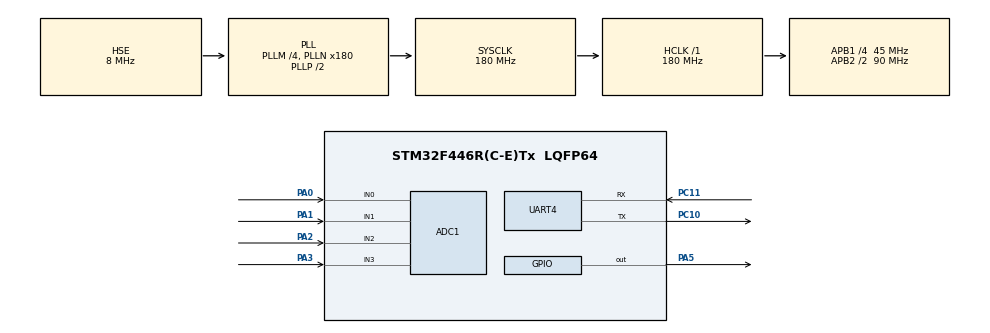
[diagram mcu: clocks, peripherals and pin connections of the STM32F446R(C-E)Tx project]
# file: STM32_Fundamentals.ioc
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ADC1.Channel-1\#ChannelRegularConversion=ADC_CHANNEL_0
ADC1.Channel-2\#ChannelRegularConversion=ADC_CHANNEL_1
ADC1.Channel-3\#ChannelRegularConversion=ADC_CHANNEL_2
ADC1.Channel-4\#ChannelRegularConversion=ADC_CHANNEL_3
ADC1.ClockPrescaler=ADC_CLOCK_SYNC_PCLK_DIV6
ADC1.ContinuousConvMode=DISABLE
ADC1.DMAContinuousRequests=DISABLE
ADC1.DiscontinuousConvMode=DISABLE
ADC1.EOCSelection=ADC_EOC_SEQ_CONV
ADC1.NbrOfConversion=4
ADC1.NbrOfConversionFlag=1
ADC1.Rank-1\#ChannelRegularConversion=1
ADC1.Rank-2\#ChannelRegularConversion=2
ADC1.Rank-3\#ChannelRegularConversion=3
ADC1.Rank-4\#ChannelRegularConversion=4
ADC1.SamplingTime-1\#ChannelRegularConversion=ADC_SAMPLETIME_3CYCLES
ADC1.SamplingTime-2\#ChannelRegularConversion=ADC_SAMPLETIME_3CYCLES
ADC1.SamplingTime-3\#ChannelRegularConversion=ADC_SAMPLETIME_3CYCLES
ADC1.SamplingTime-4\#ChannelRegularConversion=ADC_SAMPLETIME_3CYCLES
ADC1.ScanConvMode=ENABLE
ADC1.master=1
Dma.ADC1.0.Direction=DMA_PERIPH_TO_MEMORY
Dma.ADC1.0.FIFOMode=DMA_FIFOMODE_DISABLE
Dma.ADC1.0.Instance=DMA2_Stream0
Dma.ADC1.0.MemDataAlignment=DMA_MDATAALIGN_HALFWORD
Dma.ADC1.0.MemInc=DMA_MINC_ENABLE
Dma.ADC1.0.Mode=DMA_NORMAL
Dma.ADC1.0.PeriphDataAlignment=DMA_PDATAALIGN_HALFWORD
Dma.ADC1.0.PeriphInc=DMA_PINC_DISABLE
Dma.ADC1.0.Priority=DMA_PRIORITY_LOW
Dma.Request0=ADC1
Mcu.Family=STM32F4
Mcu.Name=STM32F446R(C-E)Tx
Mcu.Package=LQFP64
NVIC.ADC_IRQn=true\:0\:0\:false\:false\:true\:true\:true\:true
NVIC.DMA2_Stream0_IRQn=true\:0\:0\:false\:false\:true\:false\:true\:true
NVIC.PriorityGroup=NVIC_PRIORITYGROUP_4
NVIC.UART4_IRQn=true\:0\:0\:false\:false\:true\:true\:true\:true
PA0-WKUP.Signal=ADCx_IN0
PA1.Signal=ADCx_IN1
PA13.Mode=Serial_Wire
PA13.Signal=SYS_JTMS-SWDIO
PA14.Mode=Serial_Wire
PA14.Signal=SYS_JTCK-SWCLK
PA2.Signal=ADCx_IN2
PA3.Signal=ADCx_IN3
PA5.Signal=GPIO_Output
PC10.Mode=Asynchronous
PC10.Signal=UART4_TX
PC11.Mode=Asynchronous
PC11.Signal=UART4_RX
PH0-OSC_IN.Mode=HSE-External-Clock-Source
PH0-OSC_IN.Signal=RCC_OSC_IN
PH1-OSC_OUT.Mode=HSE-External-Clock-Source
PH1-OSC_OUT.Signal=RCC_OSC_OUT
ProjectManager.HeapSize=0x200
ProjectManager.StackSize=0x400
ProjectManager.TargetToolchain=STM32CubeIDE
RCC.AHBFreq_Value=180000000
RCC.APB1CLKDivider=RCC_HCLK_DIV4
RCC.APB1Freq_Value=45000000
RCC.APB1TimFreq_Value=90000000
RCC.APB2CLKDivider=RCC_HCLK_DIV2
RCC.APB2Freq_Value=90000000
RCC.APB2TimFreq_Value=180000000
RCC.CortexFreq_Value=180000000
RCC.HCLKFreq_Value=180000000
RCC.HSE_VALUE=8000000
RCC.PLLM=4
RCC.PLLN=180
RCC.PLLSourceVirtual=RCC_PLLSOURCE_HSE
RCC.SYSCLKFreq_VALUE=180000000
RCC.SYSCLKSource=RCC_SYSCLKSOURCE_PLLCLK
RCC.USBFreq_Value=180000000
RCC.VCOOutputFreq_Value=360000000
SH.ADCx_IN0.0=ADC1_IN0,IN0
SH.ADCx_IN1.0=ADC1_IN1,IN1
SH.ADCx_IN2.0=ADC1_IN2,IN2
SH.ADCx_IN3.0=ADC1_IN3,IN3
UART4.VirtualMode=Asynchronous
board=custom

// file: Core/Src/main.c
/* USER CODE BEGIN Header */
/**
  ******************************************************************************
  * @file           : main.c
  * @brief          : Main program body
  ******************************************************************************
  * @attention
  *
  * Copyright (c) 2026 STMicroelectronics.
  * All rights reserved.
  *
  * This software is licensed under terms that can be found in the LICENSE file
  * in the root directory of this software component.
  * If no LICENSE file comes with this software, it is provided AS-IS.
  *
  ******************************************************************************
  */
/* USER CODE END Header */
#include "main.h"

/* USER CODE BEGIN Includes */
#include <stdio.h>
#include <string.h>
/* USER CODE END Includes */

ADC_HandleTypeDef hadc1;
DMA_HandleTypeDef hdma_adc1;

UART_HandleTypeDef huart4;

/* USER CODE BEGIN PV */
// volatile uint8_t usart2DataReady = 0;
// volatile uint8_t uart4DataReady = 0;
// volatile uint16_t usart2size;
// volatile uint16_t uart4size;

// uint8_t usart2RxData[64];
// uint8_t uart4RxData[64];

volatile uint16_t ADC_VAL[4];
volatile int isADCFinished = 0;
uint32_t countloop = 0;

/* USER CODE END PV */

void SystemClock_Config(void);
static void MX_GPIO_Init(void);
static void MX_DMA_Init(void);
static void MX_UART4_Init(void);
static void MX_ADC1_Init(void);
/* USER CODE BEGIN PFP */
void HAL_ADC_ConvCpltCallback(ADC_HandleTypeDef *hadc);
/* USER CODE END PFP */

int main(void)
{

  /* MCU Configuration--------------------------------------------------------*/

  /* Reset of all peripherals, Initializes the Flash interface and the Systick. */
  HAL_Init();

  /* Configure the system clock */
  SystemClock_Config();

  /* Initialize all configured peripherals */
  MX_GPIO_Init();
  MX_DMA_Init();
  MX_UART4_Init();
  MX_ADC1_Init();
  /* USER CODE BEGIN 2 */
//  HAL_UARTEx_ReceiveToIdle_IT(&huart2, usart2RxData, 64);
//  HAL_UARTEx_ReceiveToIdle_IT(&huart4, uart4RxData, 64);
  HAL_ADC_Start_DMA(&hadc1, (uint32_t*)ADC_VAL, 4);
  /* USER CODE END 2 */

  /* Infinite loop */
  while(1)
  {

    /* USER CODE BEGIN 3 */
	 if (isADCFinished == 1)
	 {
		 isADCFinished = 0;
		 HAL_ADC_Start_DMA(&hadc1, (uint32_t*)ADC_VAL, 4);
	 }
	  HAL_Delay(500);
	  countloop++;
  }
  /* USER CODE END 3 */
}

void SystemClock_Config(void)
{
  RCC_OscInitTypeDef RCC_OscInitStruct = {0};
  RCC_ClkInitTypeDef RCC_ClkInitStruct = {0};

  /** Configure the main internal regulator output voltage
  */
  __HAL_RCC_PWR_CLK_ENABLE();
  __HAL_PWR_VOLTAGESCALING_CONFIG(PWR_REGULATOR_VOLTAGE_SCALE1);

  /** Initializes the RCC Oscillators according to the specified parameters
  * in the RCC_OscInitTypeDef structure.
  */
  RCC_OscInitStruct.OscillatorType = RCC_OSCILLATORTYPE_HSE;
  RCC_OscInitStruct.HSEState = RCC_HSE_BYPASS;
  RCC_OscInitStruct.PLL.PLLState = RCC_PLL_ON;
  RCC_OscInitStruct.PLL.PLLSource = RCC_PLLSOURCE_HSE;
  RCC_OscInitStruct.PLL.PLLM = 4;
  RCC_OscInitStruct.PLL.PLLN = 180;
  RCC_OscInitStruct.PLL.PLLP = RCC_PLLP_DIV2;
  RCC_OscInitStruct.PLL.PLLQ = 2;
  RCC_OscInitStruct.PLL.PLLR = 2;
  if (HAL_RCC_OscConfig(&RCC_OscInitStruct) != HAL_OK)
  {
    Error_Handler();
  }

  /** Activate the Over-Drive mode
  */
  if (HAL_PWREx_EnableOverDrive() != HAL_OK)
  {
    Error_Handler();
  }

  /** Initializes the CPU, AHB and APB buses clocks
  */
  RCC_ClkInitStruct.ClockType = RCC_CLOCKTYPE_HCLK|RCC_CLOCKTYPE_SYSCLK
                              |RCC_CLOCKTYPE_PCLK1|RCC_CLOCKTYPE_PCLK2;
  RCC_ClkInitStruct.SYSCLKSource = RCC_SYSCLKSOURCE_PLLCLK;
  RCC_ClkInitStruct.AHBCLKDivider = RCC_SYSCLK_DIV1;
  RCC_ClkInitStruct.APB1CLKDivider = RCC_HCLK_DIV4;
  RCC_ClkInitStruct.APB2CLKDivider = RCC_HCLK_DIV2;

  if (HAL_RCC_ClockConfig(&RCC_ClkInitStruct, FLASH_LATENCY_5) != HAL_OK)
  {
    Error_Handler();
  }
}

static void MX_ADC1_Init(void)
{

  ADC_ChannelConfTypeDef sConfig = {0};

  /** Configure the global features of the ADC (Clock, Resolution, Data Alignment and number of conversion)
  */
  hadc1.Instance = ADC1;
  hadc1.Init.ClockPrescaler = ADC_CLOCK_SYNC_PCLK_DIV6;
  hadc1.Init.Resolution = ADC_RESOLUTION_12B;
  hadc1.Init.ScanConvMode = ENABLE;
  hadc1.Init.ContinuousConvMode = DISABLE;
  hadc1.Init.DiscontinuousConvMode = DISABLE;
  hadc1.Init.ExternalTrigConvEdge = ADC_EXTERNALTRIGCONVEDGE_NONE;
  hadc1.Init.ExternalTrigConv = ADC_SOFTWARE_START;
  hadc1.Init.DataAlign = ADC_DATAALIGN_RIGHT;
  hadc1.Init.NbrOfConversion = 4;
  hadc1.Init.DMAContinuousRequests = DISABLE;
  hadc1.Init.EOCSelection = ADC_EOC_SEQ_CONV;
  if (HAL_ADC_Init(&hadc1) != HAL_OK)
  {
    Error_Handler();
  }

  /** Configure for the selected ADC regular channel its corresponding rank in the sequencer and its sample time.
  */
  sConfig.Channel = ADC_CHANNEL_0;
  sConfig.Rank = 1;
  sConfig.SamplingTime = ADC_SAMPLETIME_3CYCLES;
  if (HAL_ADC_ConfigChannel(&hadc1, &sConfig) != HAL_OK)
  {
    Error_Handler();
  }

  /** Configure for the selected ADC regular channel its corresponding rank in the sequencer and its sample time.
  */
  sConfig.Channel = ADC_CHANNEL_1;
  sConfig.Rank = 2;
  if (HAL_ADC_ConfigChannel(&hadc1, &sConfig) != HAL_OK)
  {
    Error_Handler();
  }

  /** Configure for the selected ADC regular channel its corresponding rank in the sequencer and its sample time.
  */
  sConfig.Channel = ADC_CHANNEL_2;
  sConfig.Rank = 3;
  if (HAL_ADC_ConfigChannel(&hadc1, &sConfig) != HAL_OK)
  {
    Error_Handler();
  }

  /** Configure for the selected ADC regular channel its corresponding rank in the sequencer and its sample time.
  */
  sConfig.Channel = ADC_CHANNEL_3;
  sConfig.Rank = 4;
  if (HAL_ADC_ConfigChannel(&hadc1, &sConfig) != HAL_OK)
  {
    Error_Handler();
  }

}

static void MX_UART4_Init(void)
{

  huart4.Instance = UART4;
  huart4.Init.BaudRate = 115200;
  huart4.Init.WordLength = UART_WORDLENGTH_8B;
  huart4.Init.StopBits = UART_STOPBITS_1;
  huart4.Init.Parity = UART_PARITY_NONE;
  huart4.Init.Mode = UART_MODE_TX_RX;
  huart4.Init.HwFlowCtl = UART_HWCONTROL_NONE;
  huart4.Init.OverSampling = UART_OVERSAMPLING_16;
  if (HAL_UART_Init(&huart4) != HAL_OK)
  {
    Error_Handler();
  }

}

static void MX_DMA_Init(void)
{

  /* DMA controller clock enable */
  __HAL_RCC_DMA2_CLK_ENABLE();

  /* DMA interrupt init */
  /* DMA2_Stream0_IRQn interrupt configuration */
  HAL_NVIC_SetPriority(DMA2_Stream0_IRQn, 0, 0);
  HAL_NVIC_EnableIRQ(DMA2_Stream0_IRQn);

}

static void MX_GPIO_Init(void)
{
  GPIO_InitTypeDef GPIO_InitStruct = {0};

  /* GPIO Ports Clock Enable */
  __HAL_RCC_GPIOH_CLK_ENABLE();
  __HAL_RCC_GPIOA_CLK_ENABLE();
  __HAL_RCC_GPIOC_CLK_ENABLE();

  /*Configure GPIO pin Output Level */
  HAL_GPIO_WritePin(GPIOA, GPIO_PIN_5, GPIO_PIN_RESET);

  /*Configure GPIO pin : PA5 */
  GPIO_InitStruct.Pin = GPIO_PIN_5;
  GPIO_InitStruct.Mode = GPIO_MODE_OUTPUT_PP;
  GPIO_InitStruct.Pull = GPIO_NOPULL;
  GPIO_InitStruct.Speed = GPIO_SPEED_FREQ_LOW;
  HAL_GPIO_Init(GPIOA, &GPIO_InitStruct);

}

/* USER CODE BEGIN 4 */

void HAL_ADC_ConvCpltCallback(ADC_HandleTypeDef *hadc)
{
	if (hadc->Instance == ADC1)
	{
		isADCFinished = 1;
	}
}
/* USER CODE END 4 */

void Error_Handler(void)
{
  __disable_irq();
  while (1)
  {
  }
}
